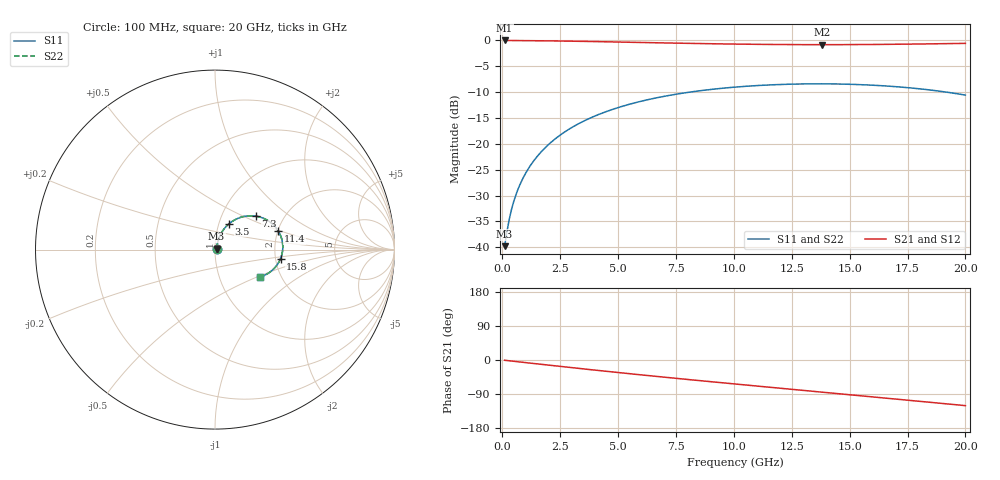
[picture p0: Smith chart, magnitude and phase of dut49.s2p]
! Touchstone file exported from HFSS 2026.1.0
!  File:  C:/ffzhzh/LocalFiles/Ansys_Project_Files/temp_train_TSV_RDL_49_1782966724_6388.aedt
!  Generated:  12:41:04 PM Jul  2, 2026
!  Design:  TSV_RDL
!  Project:  temp_train_TSV_RDL_49_1782966724_6388
! Variables:
!  h_bsmrdl = 4.49um
!  h_ox = 20um
!  h_rdl = 5um
!  h_sub = 66.93um
!  h_tmrdl = 4.11um
!  h_tsv = 66.93um
!  h_via = 3um
!  l_bsmrdl = 156.28um
!  l_sub = 1993.39um
!  l_tmrdl = 256.26um
!  m_sub = 200um
!  pitch = 38.86um
!  r_tsv = 10.47um
!  s_tmrdl = 10um
!  w_bsmrdl = 14.59um
!  w_sub = 500um
!  w_tmrdl = 18.58um
!  x_tsv_center1 = 265.55um
!  x_tsv_center2 = 436.42um
!  x_tsv_center3 = 711.26um
!  x_tsv_center4 = 882.13um
!  x_tsv_center5 = 1156.97um
!  x_tsv_center6 = 1327.84um
# GHz S MA R 50.000000
! Terminal data exported
! Port[1] = TM_RDL1_1_T1
! Port[2] = TM_RDL5_1_T1
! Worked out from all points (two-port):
!   200 points, 100 MHz to 20 GHz, reference 50 ohm
!   highest |S21| = -0.08 dB at 100 MHz (marker M1); lowest = -0.9 dB at 13.8 GHz (marker M2)
!   |S21| within 3 dB of the highest: start of sweep to end of sweep
!   lowest |S11| = -39.8 dB at 100 MHz (marker M3), VSWR 1.02, Z = 50.9 + j0.551 ohm
!   |S11| at or under -10 dB: start of sweep to 8.165 GHz; 19.11 GHz to end of sweep
!   |S22| runs from -39.8 to -8.4 dB; largest |S21 - S12| = 3.1e-14
!   S11 on the Smith chart (normalised r, x): 100 MHz: 1.02, +0.01; 3.5 GHz: 1.12, +0.33; 7.3 GHz: 1.45, +0.59; 11.4 GHz: 2.02, +0.48; 15.8 GHz: 2.13, -0.24; 20 GHz: 1.57, -0.52
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0.1  0.01027 31.8  0.9913 -0.7  0.9913 -0.7  0.01027 31.8
! Gamma 0 0 0 0
! Port Impedance 50 0 50 0
0.2  0.01413 49.2  0.991 -1.4  0.991 -1.4  0.01413 49.2
0.3  0.01865 57.7  0.9905 -2.1  0.9905 -2.1  0.01865 57.7
0.4  0.02331 62.5  0.99 -2.8  0.99 -2.8  0.02331 62.5
0.5  0.028 65.4  0.9896 -3.5  0.9896 -3.5  0.028 65.4
0.8  0.04208 69.5  0.9884 -5.5  0.9884 -5.5  0.04208 69.5
1.1  0.05621 70.8  0.9872 -7.5  0.9872 -7.5  0.05621 70.8
1.6  0.07974 70.4  0.9849 -10.9  0.9849 -10.9  0.07974 70.4
2.1  0.103 68.7  0.9821 -14.2  0.9821 -14.2  0.103 68.7
2.7  0.1301 65.8  0.978 -18.2  0.978 -18.2  0.1301 65.8
3.5  0.1646 61.4  0.9716 -23.5  0.9716 -23.5  0.1646 61.4
5  0.2231 52.6  0.9576 -33.1  0.9576 -33.1  0.2231 52.6
6.8  0.2812 42.0  0.9402 -44.2  0.9402 -44.2  0.2812 42.0
7.3  0.295 39.2  0.9356 -47.2  0.9356 -47.2  0.295 39.1
10.1  0.3524 23.4  0.9142 -63.6  0.9142 -63.6  0.3524 23.3
11.4  0.3679 16.2  0.9077 -71.0  0.9077 -71.0  0.3679 16.2
13.4  0.3782 5.3  0.903 -82.3  0.903 -82.3  0.3782 5.3
13.8  0.3782 3.2  0.9029 -84.6  0.9029 -84.6  0.3782 3.1
15.8  0.3688 -7.7  0.906 -95.9  0.906 -95.9  0.3687 -7.8
16.7  0.3591 -12.7  0.9093 -101.0  0.9093 -101.0  0.3591 -12.7
18.4  0.3315 -22.1  0.9184 -110.9  0.9184 -110.9  0.3314 -22.2
20  0.2943 -31.2  0.9293 -120.5  0.9293 -120.5  0.2943 -31.2
